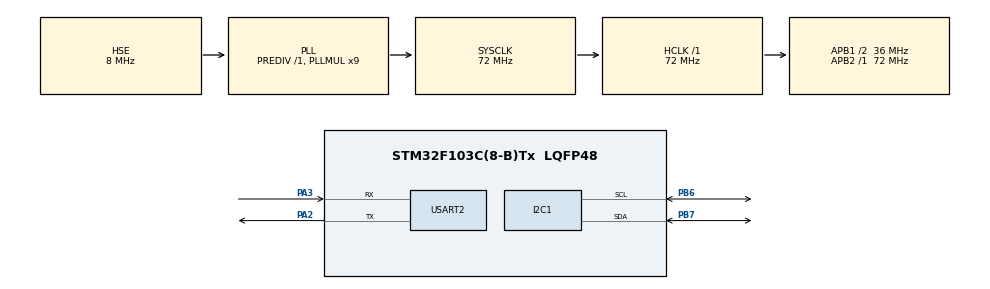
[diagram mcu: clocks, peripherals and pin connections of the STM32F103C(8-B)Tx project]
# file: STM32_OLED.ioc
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I2C1.I2C_Mode=I2C_Fast
Mcu.Family=STM32F1
Mcu.Name=STM32F103C(8-B)Tx
Mcu.Package=LQFP48
NVIC.I2C1_EV_IRQn=true\:0\:0\:false\:false\:true\:true\:true\:true
NVIC.PriorityGroup=NVIC_PRIORITYGROUP_4
PA13.Mode=Serial_Wire
PA13.Signal=SYS_JTMS-SWDIO
PA14.Mode=Serial_Wire
PA14.Signal=SYS_JTCK-SWCLK
PA2.Mode=Asynchronous
PA2.Signal=USART2_TX
PA3.Mode=Asynchronous
PA3.Signal=USART2_RX
PB6.Mode=I2C
PB6.Signal=I2C1_SCL
PB7.Mode=I2C
PB7.Signal=I2C1_SDA
PD0-OSC_IN.Mode=HSE-External-Oscillator
PD0-OSC_IN.Signal=RCC_OSC_IN
PD1-OSC_OUT.Mode=HSE-External-Oscillator
PD1-OSC_OUT.Signal=RCC_OSC_OUT
ProjectManager.HeapSize=0x200
ProjectManager.StackSize=0x400
ProjectManager.TargetToolchain=STM32CubeIDE
RCC.AHBFreq_Value=72000000
RCC.APB1CLKDivider=RCC_HCLK_DIV2
RCC.APB1Freq_Value=36000000
RCC.APB1TimFreq_Value=72000000
RCC.APB2Freq_Value=72000000
RCC.APB2TimFreq_Value=72000000
RCC.HCLKFreq_Value=72000000
RCC.PLLMUL=RCC_PLL_MUL9
RCC.PLLSourceVirtual=RCC_PLLSOURCE_HSE
RCC.SYSCLKFreq_VALUE=72000000
RCC.SYSCLKSource=RCC_SYSCLKSOURCE_PLLCLK
RCC.USBFreq_Value=72000000
USART2.VirtualMode=VM_ASYNC
board=custom

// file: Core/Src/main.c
/* USER CODE BEGIN Header */
/**
  ******************************************************************************
  * @file           : main.c
  * @brief          : Main program body
  ******************************************************************************
  * @attention
  *
  * Copyright (c) 2025 STMicroelectronics.
  * All rights reserved.
  *
  * This software is licensed under terms that can be found in the LICENSE file
  * in the root directory of this software component.
  * If no LICENSE file comes with this software, it is provided AS-IS.
  *
  ******************************************************************************
  */
/* USER CODE END Header */
#include "main.h"
#include "i2c.h"
#include "usart.h"
#include "gpio.h"

/* USER CODE BEGIN Includes */
#include "oled.h"
#include "font.h"
#include "aht20.h"
#include "string.h"
#include "stdio.h"
/* USER CODE END Includes */

void SystemClock_Config(void);

int main(void)
{

  /* MCU Configuration--------------------------------------------------------*/

  /* Reset of all peripherals, Initializes the Flash interface and the Systick. */
  HAL_Init();

  /* Configure the system clock */
  SystemClock_Config();

  /* Initialize all configured peripherals */
  MX_GPIO_Init();
  MX_I2C1_Init();
  MX_USART2_UART_Init();
  /* USER CODE BEGIN 2 */
  //延迟上电
  HAL_Delay(20);
  OLED_Init();
    AHT20_Init();                // 初始化 AHT20
    float temperature, humidity; // 温度和湿度变量
    char message_T[30];            // 要发送的字符串T
    char message_H[30];            // 要发送的字符串TH
    //初始化OLED成功
    for (int i = 0; i < 32; ++i) {

        OLED_Clean();
        OLED_DrawCircle(64,32,4*i,OLED_COLOR_NORMAL);
        OLED_DrawCircle(64,32,2*i,OLED_COLOR_NORMAL);
        OLED_ShowFrame();
        //HAL_Delay(10);
    }
  /* USER CODE END 2 */

  /* Infinite loop */
  /* USER CODE BEGIN WHILE */
  while (1)
  {
      switch (AHT20_STATE) {
          case FREE:
              AHT20_Measure();
              break;
          case MEASURE_DONE:
              AHT20_Get();
              break;
          case GET_DONE:
              AHT20_FIGURE(&temperature, &humidity);
              break;
          default:
              break;
      }
      if(AHT20_STATE==READY)
      {
          sprintf(message_T,"T:%.1f",temperature);
          sprintf(message_H,"H:%.1f",humidity);
          OLED_Clean();
          OLED_PrintASCIIString(0,16,message_T,&afont16x8,OLED_COLOR_NORMAL);
          OLED_PrintASCIIString(0,48,message_H,&afont16x8,OLED_COLOR_NORMAL);
          OLED_ShowFrame();
          HAL_Delay(1000);
          AHT20_STATE = FREE;
      }

    /* USER CODE END WHILE */

  }
}

void SystemClock_Config(void)
{
  RCC_OscInitTypeDef RCC_OscInitStruct = {0};
  RCC_ClkInitTypeDef RCC_ClkInitStruct = {0};

  /** Initializes the RCC Oscillators according to the specified parameters
  * in the RCC_OscInitTypeDef structure.
  */
  RCC_OscInitStruct.OscillatorType = RCC_OSCILLATORTYPE_HSE;
  RCC_OscInitStruct.HSEState = RCC_HSE_ON;
  RCC_OscInitStruct.HSEPredivValue = RCC_HSE_PREDIV_DIV1;
  RCC_OscInitStruct.HSIState = RCC_HSI_ON;
  RCC_OscInitStruct.PLL.PLLState = RCC_PLL_ON;
  RCC_OscInitStruct.PLL.PLLSource = RCC_PLLSOURCE_HSE;
  RCC_OscInitStruct.PLL.PLLMUL = RCC_PLL_MUL9;
  if (HAL_RCC_OscConfig(&RCC_OscInitStruct) != HAL_OK)
  {
    Error_Handler();
  }

  /** Initializes the CPU, AHB and APB buses clocks
  */
  RCC_ClkInitStruct.ClockType = RCC_CLOCKTYPE_HCLK|RCC_CLOCKTYPE_SYSCLK
                              |RCC_CLOCKTYPE_PCLK1|RCC_CLOCKTYPE_PCLK2;
  RCC_ClkInitStruct.SYSCLKSource = RCC_SYSCLKSOURCE_PLLCLK;
  RCC_ClkInitStruct.AHBCLKDivider = RCC_SYSCLK_DIV1;
  RCC_ClkInitStruct.APB1CLKDivider = RCC_HCLK_DIV2;
  RCC_ClkInitStruct.APB2CLKDivider = RCC_HCLK_DIV1;

  if (HAL_RCC_ClockConfig(&RCC_ClkInitStruct, FLASH_LATENCY_2) != HAL_OK)
  {
    Error_Handler();
  }
}

void Error_Handler(void)
{
  __disable_irq();
  while (1)
  {
  }
}
